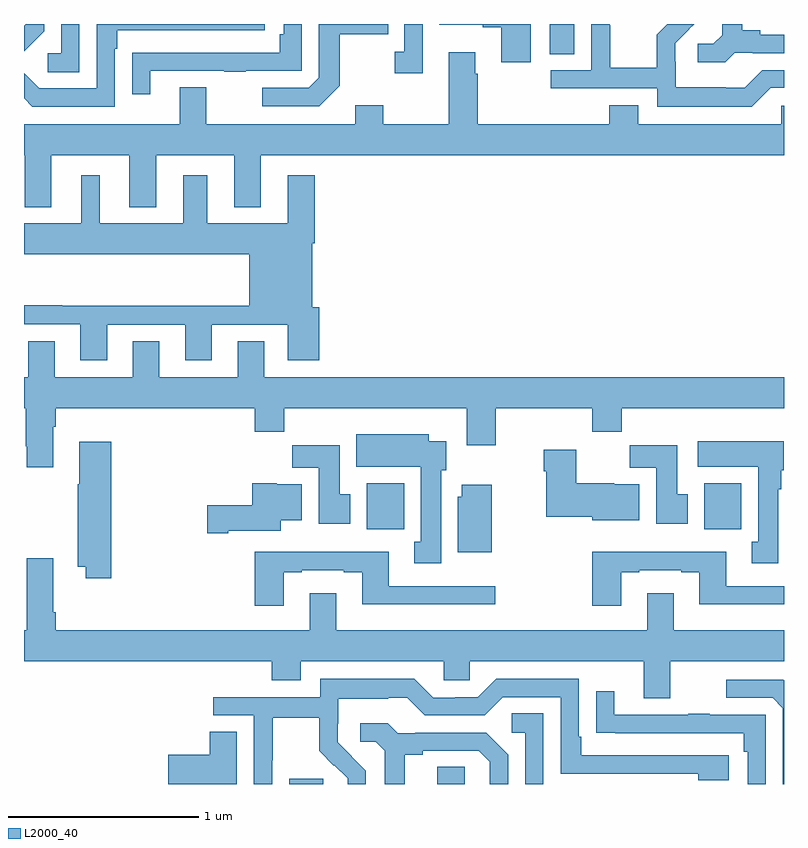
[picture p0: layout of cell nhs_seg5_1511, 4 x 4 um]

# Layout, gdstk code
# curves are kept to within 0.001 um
import gdstk
lib = gdstk.Library(unit=1e-6, precision=1e-09)
def R(c, l, rs):  # rectangles x0, y0, x1, y1
    for r in rs: c.add(gdstk.rectangle(r[:2], r[2:], *l))
def P(c, l, *ps):  # polygons
    for p in ps: c.add(gdstk.Polygon(p, *l))
L2000_40 = (2000, 40)

nhs_seg5_1511 = lib.new_cell('nhs_seg5_1511')
R(nhs_seg5_1511, L2000_40, [(204.395,838.799,204.574,838.827), (205.175,838.799,205.32,838.889), (204.803,840.14,205,840.382), (206.579,840.14,206.776,840.382), (205.766,842.641,205.897,842.799)])
P(nhs_seg5_1511, L2000_40, [(203.665,842.553),(204.055,842.553),(204.055,842.548),(204.167,842.548),(204.167,842.553),(204.462,842.553),(204.462,842.799),(204.366,842.799),(204.366,842.746),(204.346,842.746),(204.346,842.649),(203.671,842.649),(203.671,842.648),(203.569,842.648),(203.569,842.43),(203.665,842.43)],
  [(203.478,842.669),(203.491,842.669),(203.491,842.766),(204.268,842.766),(204.268,842.799),(203.382,842.799),(203.382,842.46),(203.079,842.46),(203,842.539),(203,842.407),(203.043,842.364),(203.478,842.364)],
  [(206.931,842.463),(207,842.463),(207,842.556),(206.886,842.556),(206.793,842.463),(206.693,842.463),(206.693,842.467),(206.43,842.467),(206.43,842.601),(206.428,842.601),(206.428,842.698),(206.502,842.772),(206.501,842.773),(206.527,842.799),(206.385,842.799),(206.329,842.743),(206.329,842.569),(206.085,842.569),(206.085,842.792),(206.082,842.792),(206.082,842.799),(205.986,842.799),(205.986,842.556),(205.773,842.556),(205.773,842.46),(206.334,842.46),(206.334,842.363),(206.831,842.363)],
  [(203.106,842.762),(203.106,842.799),(203.009,842.799),(203,842.79),(203,842.656)],
  [(203.292,842.799),(203.196,842.799),(203.196,842.646),(203.124,842.646),(203.124,842.545),(203.292,842.545)],
  [(206.742,842.649),(206.836,842.649),(206.836,842.646),(207,842.646),(207,842.742),(206.875,842.742),(206.875,842.765),(206.779,842.765),(206.779,842.799),(206.675,842.799),(206.675,842.741),(206.628,842.694),(206.547,842.694),(206.547,842.597),(206.69,842.597)],
  [(205.098,842.799),(205.002,842.799),(205.002,842.654),(204.951,842.654),(204.951,842.541),(205.098,842.541)],
  [(205.666,842.799),(205.185,842.799),(205.185,842.795),(205.415,842.795),(205.415,842.783),(205.511,842.783),(205.511,842.598),(205.666,842.598)],
  [(204.661,842.473),(204.661,842.746),(204.917,842.746),(204.917,842.799),(204.552,842.799),(204.552,842.517),(204.498,842.463),(204.255,842.463),(204.255,842.367),(204.555,842.367)],
  [(203.143,842.108),(203.555,842.108),(203.555,841.835),(203.695,841.835),(203.695,842.108),(204.107,842.108),(204.107,841.835),(204.247,841.835),(204.247,842.108),(207,842.108),(207,842.37),(206.985,842.37),(206.985,842.272),(206.233,842.272),(206.233,842.371),(206.081,842.371),(206.081,842.272),(205.388,842.272),(205.388,842.537),(205.375,842.537),(205.375,842.65),(205.235,842.65),(205.235,842.272),(204.891,842.272),(204.891,842.371),(204.743,842.371),(204.743,842.272),(203.959,842.272),(203.959,842.467),(203.819,842.467),(203.819,842.272),(203,842.272),(203,842.108),(203.003,842.108),(203.003,841.835),(203.143,841.835)],
  [(203.437,841.215),(203.849,841.215),(203.849,841.029),(203.989,841.029),(203.989,841.215),(204.389,841.215),(204.389,841.029),(204.554,841.029),(204.554,841.308),(204.517,841.308),(204.517,841.646),(204.53,841.646),(204.53,842.002),(204.389,842.002),(204.389,841.75),(203.965,841.75),(203.965,842.002),(203.837,842.002),(203.837,841.75),(203.398,841.75),(203.398,842.002),(203.3,842.002),(203.3,841.75),(203,841.75),(203,841.586),(204.185,841.586),(204.185,841.316),(203.201,841.316),(203.201,841.319),(203,841.319),(203,841.218),(203.297,841.218),(203.297,841.029),(203.437,841.029)],
  [(203.155,840.68),(203.168,840.68),(203.168,840.776),(204.215,840.776),(204.215,840.652),(204.371,840.652),(204.371,840.776),(205.331,840.776),(205.331,840.582),(205.484,840.582),(205.484,840.776),(205.991,840.776),(205.991,840.652),(206.147,840.652),(206.147,840.776),(207,840.776),(207,840.94),(204.265,840.94),(204.265,841.13),(204.125,841.13),(204.125,840.94),(203.713,840.94),(203.713,841.13),(203.573,841.13),(203.573,840.94),(203.161,840.94),(203.161,841.13),(203.022,841.13),(203.022,840.94),(203,840.94),(203,840.776),(203.008,840.776),(203.008,840.577),(203.015,840.577),(203.015,840.465),(203.155,840.465)],
  [(205.195,840.45),(205.222,840.45),(205.222,840.604),(205.129,840.604),(205.129,840.64),(204.749,840.64),(204.749,840.47),(205.088,840.47),(205.088,840.074),(205.055,840.074),(205.055,839.961),(205.195,839.961)],
  [(206.971,840.35),(206.986,840.35),(206.986,840.45),(206.998,840.45),(206.998,840.604),(206.547,840.604),(206.547,840.47),(206.864,840.47),(206.864,840.074),(206.831,840.074),(206.831,839.961),(206.971,839.961)],
  [(203.459,840.601),(203.291,840.601),(203.291,840.377),(203.284,840.377),(203.284,839.942),(203.324,839.942),(203.324,839.883),(203.459,839.883)],
  [(206.494,840.324),(206.437,840.324),(206.437,840.583),(206.188,840.583),(206.188,840.464),(206.327,840.464),(206.327,840.168),(206.494,840.168)],
  [(204.718,840.324),(204.661,840.324),(204.661,840.582),(204.412,840.582),(204.412,840.464),(204.551,840.464),(204.551,840.168),(204.718,840.168)],
  [(206.239,840.376),(206.106,840.376),(206.106,840.382),(205.906,840.382),(205.906,840.559),(205.736,840.559),(205.736,840.446),(205.748,840.446),(205.748,840.206),(205.992,840.206),(205.992,840.188),(206.239,840.188)],
  [(204.076,840.131),(204.352,840.131),(204.352,840.188),(204.463,840.188),(204.463,840.376),(204.33,840.376),(204.33,840.382),(204.2,840.382),(204.2,840.266),(203.964,840.266),(203.964,840.119),(204.076,840.119)],
  [(205.462,840.373),(205.304,840.373),(205.304,840.312),(205.283,840.312),(205.283,840.02),(205.462,840.02)],
  [(206.143,839.913),(206.239,839.913),(206.239,839.925),(206.459,839.925),(206.459,839.913),(206.555,839.913),(206.555,839.744),(207,839.744),(207,839.841),(206.695,839.841),(206.695,840.022),(205.991,840.022),(205.991,839.736),(206.143,839.736)],
  [(204.367,839.913),(204.463,839.913),(204.463,839.925),(204.683,839.925),(204.683,839.913),(204.779,839.913),(204.779,839.744),(205.48,839.744),(205.48,839.841),(204.919,839.841),(204.919,840.022),(204.215,840.022),(204.215,839.736),(204.367,839.736)],
  [(206.401,839.444),(207,839.444),(207,839.608),(206.419,839.608),(206.419,839.803),(206.279,839.803),(206.279,839.608),(204.643,839.608),(204.643,839.803),(204.503,839.803),(204.503,839.608),(203.168,839.608),(203.168,839.704),(203.155,839.704),(203.155,839.986),(203.015,839.986),(203.015,839.608),(203,839.608),(203,839.444),(204.305,839.444),(204.305,839.345),(204.457,839.345),(204.457,839.444),(205.209,839.444),(205.209,839.346),(205.347,839.346),(205.347,839.444),(206.261,839.444),(206.261,839.25),(206.401,839.25)],
  [(204.306,838.924),(204.309,838.924),(204.309,839.148),(204.553,839.148),(204.553,838.973),(204.63,838.896),(204.633,838.899),(204.704,838.829),(204.704,838.799),(204.798,838.799),(204.798,838.87),(204.652,839.018),(204.652,839.115),(204.654,839.115),(204.654,839.249),(204.917,839.249),(204.917,839.253),(205.017,839.253),(205.11,839.16),(205.425,839.16),(205.521,839.256),(205.824,839.256),(205.824,838.854),(206.549,838.854),(206.549,838.82),(206.71,838.82),(206.71,838.95),(205.933,838.95),(205.933,839.047),(205.92,839.047),(205.92,839.352),(205.485,839.352),(205.389,839.256),(205.271,839.256),(205.271,839.253),(205.155,839.253),(205.055,839.353),(204.558,839.353),(204.558,839.256),(203.997,839.256),(203.997,839.16),(204.21,839.16),(204.21,838.799),(204.306,838.799)],
  [(207,839.346),(206.997,839.349),(206.697,839.349),(206.697,839.253),(206.94,839.253),(206.994,839.199),(206.994,838.799),(207,838.799)],
  [(206.904,839.163),(206.609,839.163),(206.609,839.168),(206.497,839.168),(206.497,839.163),(206.107,839.163),(206.107,839.287),(206.011,839.287),(206.011,839.068),(206.113,839.068),(206.113,839.067),(206.788,839.067),(206.788,838.97),(206.808,838.97),(206.808,838.799),(206.904,838.799)],
  [(205.734,839.171),(205.566,839.171),(205.566,839.07),(205.638,839.07),(205.638,838.799),(205.734,838.799)],
  [(205.003,838.952),(205.099,838.952),(205.099,838.974),(205.394,838.974),(205.451,838.917),(205.451,838.799),(205.548,838.799),(205.548,838.954),(205.432,839.07),(205.06,839.07),(205.06,839.067),(204.966,839.067),(204.914,839.119),(204.771,839.119),(204.771,839.022),(204.852,839.022),(204.899,838.975),(204.899,838.799),(205.003,838.799)],
  [(204.121,839.075),(203.978,839.075),(203.978,838.952),(203.76,838.952),(203.76,838.799),(204.121,838.799)])

lib.write_gds('nhs_seg5_1511.gds')
